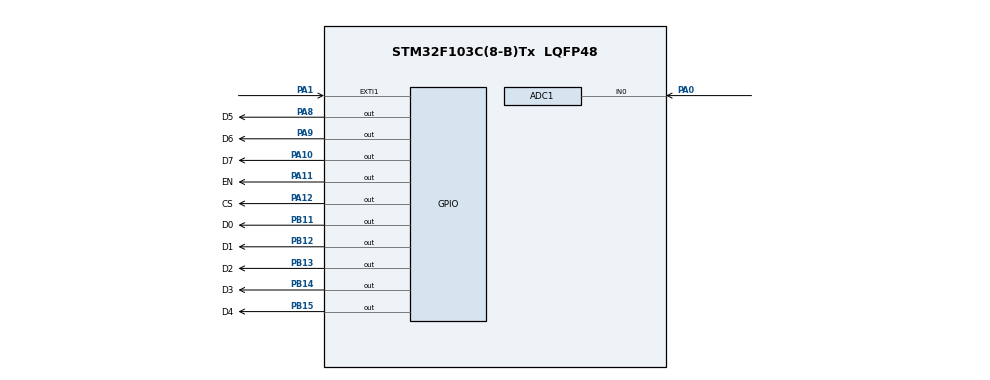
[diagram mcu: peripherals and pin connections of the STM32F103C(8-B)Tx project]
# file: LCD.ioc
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ADC1.Channel-0\#ChannelRegularConversion=ADC_CHANNEL_0
ADC1.NbrOfConversionFlag=1
ADC1.Rank-0\#ChannelRegularConversion=1
ADC1.SamplingTime-0\#ChannelRegularConversion=ADC_SAMPLETIME_239CYCLES_5
ADC1.master=1
Mcu.Family=STM32F1
Mcu.Name=STM32F103C(8-B)Tx
Mcu.Package=LQFP48
NVIC.ADC1_2_IRQn=true\:0\:0\:false\:false\:true\:true\:true\:true
NVIC.EXTI1_IRQn=true\:0\:0\:false\:false\:true\:true\:true\:true
NVIC.PriorityGroup=NVIC_PRIORITYGROUP_4
PA0-WKUP.Signal=ADCx_IN0
PA1.GPIO_ModeDefaultEXTI=GPIO_MODE_IT_FALLING
PA1.GPIO_PuPd=GPIO_PULLUP
PA1.Signal=GPXTI1
PA10.GPIO_Label=D7
PA10.Signal=GPIO_Output
PA11.GPIO_Label=EN
PA11.Signal=GPIO_Output
PA12.GPIO_Label=CS
PA12.Signal=GPIO_Output
PA13.Mode=Serial_Wire
PA13.Signal=SYS_JTMS-SWDIO
PA14.Mode=Serial_Wire
PA14.Signal=SYS_JTCK-SWCLK
PA8.GPIO_Label=D5
PA8.Signal=GPIO_Output
PA9.GPIO_Label=D6
PA9.Signal=GPIO_Output
PB11.GPIO_Label=D0
PB11.Signal=GPIO_Output
PB12.GPIO_Label=D1
PB12.Signal=GPIO_Output
PB13.GPIO_Label=D2
PB13.Signal=GPIO_Output
PB14.GPIO_Label=D3
PB14.Signal=GPIO_Output
PB15.GPIO_Label=D4
PB15.Signal=GPIO_Output
PD0-OSC_IN.Signal=RCC_OSC_IN
PD1-OSC_OUT.Signal=RCC_OSC_OUT
ProjectManager.HeapSize=0x200
ProjectManager.StackSize=0x400
ProjectManager.TargetToolchain=MDK-ARM V5.32
RCC.APB1Freq_Value=8000000
RCC.APB2Freq_Value=8000000
SH.ADCx_IN0.0=ADC1_IN0,IN0
board=custom

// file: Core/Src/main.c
/* USER CODE BEGIN Header */
/**
  ******************************************************************************
  * @file           : main.c
  * @brief          : Main program body
  ******************************************************************************
  * @attention
  *
  * Copyright (c) 2022 STMicroelectronics.
  * All rights reserved.
  *
  * This software is licensed under terms that can be found in the LICENSE file
  * in the root directory of this software component.
  * If no LICENSE file comes with this software, it is provided AS-IS.
  *
  ******************************************************************************
  */
/* USER CODE END Header */
#include "main.h"

/* USER CODE BEGIN Includes */
#include "CLCD.h"
#include <stdio.h>
/* USER CODE END Includes */

ADC_HandleTypeDef hadc1;

/* USER CODE BEGIN PV */

CLCD_Name LCD1 ;
//uint8_t Count ;
char LCD_send[16];
uint16_t adc_value;
float vout;

/* USER CODE END PV */

void SystemClock_Config(void);
static void MX_GPIO_Init(void);
static void MX_ADC1_Init(void);

int main(void)
{

  /* MCU Configuration--------------------------------------------------------*/

  /* Reset of all peripherals, Initializes the Flash interface and the Systick. */
  HAL_Init();

  /* Configure the system clock */
  SystemClock_Config();

  /* Initialize all configured peripherals */
  MX_GPIO_Init();
  MX_ADC1_Init();
  /* USER CODE BEGIN 2 */
	CLCD_8BIT_Init(&LCD1, 16, 2, CS_GPIO_Port, CS_Pin, EN_GPIO_Port, EN_Pin,
								D0_GPIO_Port, D0_Pin, D1_GPIO_Port, D1_Pin,
								D2_GPIO_Port, D2_Pin, D3_GPIO_Port, D3_Pin,
								D4_GPIO_Port, D4_Pin, D5_GPIO_Port, D5_Pin,
								D6_GPIO_Port, D6_Pin, D7_GPIO_Port, D7_Pin);
	CLCD_SetCursor(&LCD1, 0, 0);
	CLCD_WriteString(&LCD1, "READ ADC");
  /* USER CODE END 2 */

  /* Infinite loop */
  while (1)
  {

    /* USER CODE BEGIN 3 */
		HAL_ADC_Start(&hadc1);
		HAL_ADC_PollForConversion(&hadc1, 100);
		adc_value = HAL_ADC_GetValue(&hadc1);
		vout = (adc_value*3.3)/4095;
		CLCD_SetCursor(&LCD1, 0, 1);
		CLCD_WriteString(&LCD1, "Gia Tri: ");
		sprintf(LCD_send, "%.3f", vout);
		CLCD_WriteString(&LCD1, LCD_send);
		HAL_Delay(300);
  }
  /* USER CODE END 3 */
}

void SystemClock_Config(void)
{
  RCC_OscInitTypeDef RCC_OscInitStruct = {0};
  RCC_ClkInitTypeDef RCC_ClkInitStruct = {0};
  RCC_PeriphCLKInitTypeDef PeriphClkInit = {0};

  /** Initializes the RCC Oscillators according to the specified parameters
  * in the RCC_OscInitTypeDef structure.
  */
  RCC_OscInitStruct.OscillatorType = RCC_OSCILLATORTYPE_HSI;
  RCC_OscInitStruct.HSIState = RCC_HSI_ON;
  RCC_OscInitStruct.HSICalibrationValue = RCC_HSICALIBRATION_DEFAULT;
  RCC_OscInitStruct.PLL.PLLState = RCC_PLL_NONE;
  if (HAL_RCC_OscConfig(&RCC_OscInitStruct) != HAL_OK)
  {
    Error_Handler();
  }

  /** Initializes the CPU, AHB and APB buses clocks
  */
  RCC_ClkInitStruct.ClockType = RCC_CLOCKTYPE_HCLK|RCC_CLOCKTYPE_SYSCLK
                              |RCC_CLOCKTYPE_PCLK1|RCC_CLOCKTYPE_PCLK2;
  RCC_ClkInitStruct.SYSCLKSource = RCC_SYSCLKSOURCE_HSI;
  RCC_ClkInitStruct.AHBCLKDivider = RCC_SYSCLK_DIV1;
  RCC_ClkInitStruct.APB1CLKDivider = RCC_HCLK_DIV1;
  RCC_ClkInitStruct.APB2CLKDivider = RCC_HCLK_DIV1;

  if (HAL_RCC_ClockConfig(&RCC_ClkInitStruct, FLASH_LATENCY_0) != HAL_OK)
  {
    Error_Handler();
  }
  PeriphClkInit.PeriphClockSelection = RCC_PERIPHCLK_ADC;
  PeriphClkInit.AdcClockSelection = RCC_ADCPCLK2_DIV2;
  if (HAL_RCCEx_PeriphCLKConfig(&PeriphClkInit) != HAL_OK)
  {
    Error_Handler();
  }
}

static void MX_ADC1_Init(void)
{

  ADC_ChannelConfTypeDef sConfig = {0};

  /** Common config
  */
  hadc1.Instance = ADC1;
  hadc1.Init.ScanConvMode = ADC_SCAN_DISABLE;
  hadc1.Init.ContinuousConvMode = DISABLE;
  hadc1.Init.DiscontinuousConvMode = DISABLE;
  hadc1.Init.ExternalTrigConv = ADC_SOFTWARE_START;
  hadc1.Init.DataAlign = ADC_DATAALIGN_RIGHT;
  hadc1.Init.NbrOfConversion = 1;
  if (HAL_ADC_Init(&hadc1) != HAL_OK)
  {
    Error_Handler();
  }

  /** Configure Regular Channel
  */
  sConfig.Channel = ADC_CHANNEL_0;
  sConfig.Rank = ADC_REGULAR_RANK_1;
  sConfig.SamplingTime = ADC_SAMPLETIME_239CYCLES_5;
  if (HAL_ADC_ConfigChannel(&hadc1, &sConfig) != HAL_OK)
  {
    Error_Handler();
  }

}

static void MX_GPIO_Init(void)
{
  GPIO_InitTypeDef GPIO_InitStruct = {0};

  /* GPIO Ports Clock Enable */
  __HAL_RCC_GPIOD_CLK_ENABLE();
  __HAL_RCC_GPIOA_CLK_ENABLE();
  __HAL_RCC_GPIOB_CLK_ENABLE();

  /*Configure GPIO pin Output Level */
  HAL_GPIO_WritePin(GPIOB, D0_Pin|D1_Pin|D2_Pin|D3_Pin
                          |D4_Pin, GPIO_PIN_RESET);

  /*Configure GPIO pin Output Level */
  HAL_GPIO_WritePin(GPIOA, D5_Pin|D6_Pin|D7_Pin|EN_Pin
                          |CS_Pin, GPIO_PIN_RESET);

  /*Configure GPIO pin : PA1 */
  GPIO_InitStruct.Pin = GPIO_PIN_1;
  GPIO_InitStruct.Mode = GPIO_MODE_IT_FALLING;
  GPIO_InitStruct.Pull = GPIO_PULLUP;
  HAL_GPIO_Init(GPIOA, &GPIO_InitStruct);

  /*Configure GPIO pins : D0_Pin D1_Pin D2_Pin D3_Pin
                           D4_Pin */
  GPIO_InitStruct.Pin = D0_Pin|D1_Pin|D2_Pin|D3_Pin
                          |D4_Pin;
  GPIO_InitStruct.Mode = GPIO_MODE_OUTPUT_PP;
  GPIO_InitStruct.Pull = GPIO_NOPULL;
  GPIO_InitStruct.Speed = GPIO_SPEED_FREQ_LOW;
  HAL_GPIO_Init(GPIOB, &GPIO_InitStruct);

  /*Configure GPIO pins : D5_Pin D6_Pin D7_Pin EN_Pin
                           CS_Pin */
  GPIO_InitStruct.Pin = D5_Pin|D6_Pin|D7_Pin|EN_Pin
                          |CS_Pin;
  GPIO_InitStruct.Mode = GPIO_MODE_OUTPUT_PP;
  GPIO_InitStruct.Pull = GPIO_NOPULL;
  GPIO_InitStruct.Speed = GPIO_SPEED_FREQ_LOW;
  HAL_GPIO_Init(GPIOA, &GPIO_InitStruct);

  /* EXTI interrupt init*/
  HAL_NVIC_SetPriority(EXTI1_IRQn, 0, 0);
  HAL_NVIC_EnableIRQ(EXTI1_IRQn);

}

void Error_Handler(void)
{
  __disable_irq();
  while (1)
  {
  }
}
